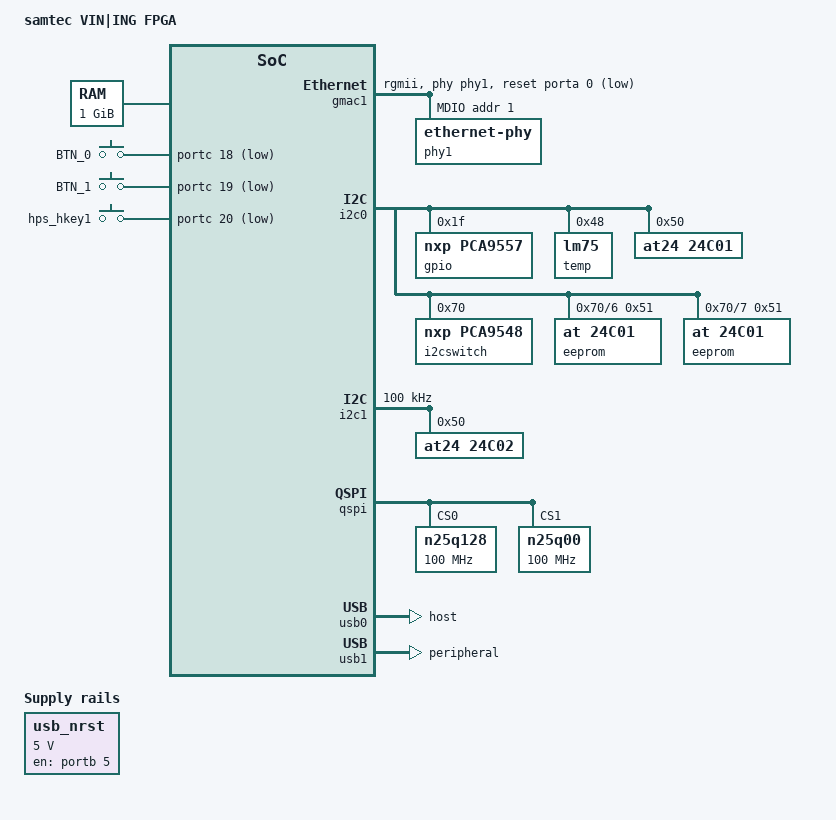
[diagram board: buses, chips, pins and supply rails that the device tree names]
/*
 *  Copyright (C) 2015 Marek Vasut <marex@denx.de>
 *
 * This file is dual-licensed: you can use it either under the terms
 * of the GPL or the X11 license, at your option. Note that this dual
 * licensing only applies to this file, and not this project as a
 * whole.
 *
 *  a) This file is free software; you can redistribute it and/or
 *     modify it under the terms of the GNU General Public License as
 *     published by the Free Software Foundation; either version 2 of
 *     the License, or (at your option) any later version.
 *
 *     This file is distributed in the hope that it will be useful,
 *     but WITHOUT ANY WARRANTY; without even the implied warranty of
 *     MERCHANTABILITY or FITNESS FOR A PARTICULAR PURPOSE.  See the
 *     GNU General Public License for more details.
 *
 *     You should have received a copy of the GNU General Public
 *     License along with this file; if not, write to the Free
 *     Software Foundation, Inc., 51 Franklin St, Fifth Floor, Boston,
 *     MA 02110-1301 USA
 *
 * Or, alternatively,
 *
 *  b) Permission is hereby granted, free of charge, to any person
 *     obtaining a copy of this software and associated documentation
 *     files (the "Software"), to deal in the Software without
 *     restriction, including without limitation the rights to use,
 *     copy, modify, merge, publish, distribute, sublicense, and/or
 *     sell copies of the Software, and to permit persons to whom the
 *     Software is furnished to do so, subject to the following
 *     conditions:
 *
 *     The above copyright notice and this permission notice shall be
 *     included in all copies or substantial portions of the Software.
 *
 *     THE SOFTWARE IS PROVIDED "AS IS", WITHOUT WARRANTY OF ANY KIND,
 *     EXPRESS OR IMPLIED, INCLUDING BUT NOT LIMITED TO THE WARRANTIES
 *     OF MERCHANTABILITY, FITNESS FOR A PARTICULAR PURPOSE AND
 *     NONINFRINGEMENT. IN NO EVENT SHALL THE AUTHORS OR COPYRIGHT
 *     HOLDERS BE LIABLE FOR ANY CLAIM, DAMAGES OR OTHER LIABILITY,
 *     WHETHER IN AN ACTION OF CONTRACT, TORT OR OTHERWISE, ARISING
 *     FROM, OUT OF OR IN CONNECTION WITH THE SOFTWARE OR THE USE OR
 *     OTHER DEALINGS IN THE SOFTWARE.
 */

#include "socfpga_cyclone5.dtsi"
#include <dt-bindings/gpio/gpio.h>
#include <dt-bindings/input/input.h>

/ {
	model = "samtec VIN|ING FPGA";
	compatible = "samtec,vining", "altr,socfpga-cyclone5", "altr,socfpga";

	chosen {
		bootargs = "console=ttyS0,115200";
	};

	memory@0 {
		name = "memory";
		device_type = "memory";
		reg = <0x0 0x40000000>; /* 1GB */
	};

	aliases {
		/*
		 * This allow the ethaddr uboot environment variable contents
		 * to be added to the gmac1 device tree blob.
		 */
		ethernet0 = &gmac1;
		ethernet1 = &gmac0;
	};

	gpio-keys {
		compatible = "gpio-keys";

		hps_temp0 {
			label = "BTN_0";			/* TEMP_OS */
			gpios = <&portc 18 GPIO_ACTIVE_LOW>;	/* HPS_GPIO60 */
			linux,code = <BTN_0>;
		};

		hps_hkey0 {
			label = "BTN_1";			/* DIS_PWR */
			gpios = <&portc 19 GPIO_ACTIVE_LOW>;	/* HPS_GPIO61 */
			linux,code = <BTN_1>;
		};

		hps_hkey1 {
			label = "hps_hkey1";			/* POWER_DOWN */
			gpios = <&portc 20 GPIO_ACTIVE_LOW>;	/* HPS_GPIO62 */
			linux,code = <KEY_POWER>;
		};
	};

	regulator-usb-nrst {
		compatible = "regulator-fixed";
		regulator-name = "usb_nrst";
		regulator-min-microvolt = <5000000>;
		regulator-max-microvolt = <5000000>;
		gpio = <&portb 5 GPIO_ACTIVE_HIGH>;
		startup-delay-us = <70000>;
		enable-active-high;
		regulator-always-on;
	};
};

&gmac1 {
	status = "okay";
	phy-mode = "rgmii";
	phy-handle = <&phy1>;

	snps,reset-gpio = <&porta 0 GPIO_ACTIVE_LOW>;
	snps,reset-active-low;
	snps,reset-delays-us = <10000 10000 10000>;

	mdio0 {
		#address-cells = <1>;
		#size-cells = <0>;
		compatible = "snps,dwmac-mdio";
		phy1: ethernet-phy@1 {
			reg = <1>;
			rxd0-skew-ps = <0>;
			rxd1-skew-ps = <0>;
			rxd2-skew-ps = <0>;
			rxd3-skew-ps = <0>;
			txen-skew-ps = <0>;
			txc-skew-ps = <2600>;
			rxdv-skew-ps = <0>;
			rxc-skew-ps = <2000>;
		};
	};
};

&gpio0 {	/* GPIO 0..29 */
	status = "okay";
};

&gpio1 {	/* GPIO 30..57 */
	status = "okay";
};

&gpio2 {	/* GPIO 58..66 (HLGPI 0..13 at offset 13) */
	status = "okay";
};

&i2c0 {
	status = "okay";

	gpio: pca9557@1f {
		compatible = "nxp,pca9557";
		reg = <0x1f>;
		gpio-controller;
		#gpio-cells = <2>;
	};

	temp: lm75@48 {
		compatible = "lm75";
		reg = <0x48>;
	};

	at24@50 {
		compatible = "at24,24c01";
		pagesize = <8>;
		reg = <0x50>;
	};

	i2cswitch@70 {
		compatible = "nxp,pca9548";
		#address-cells = <1>;
		#size-cells = <0>;
		reg = <0x70>;

		i2c@0 {
			#address-cells = <1>;
			#size-cells = <0>;
			reg = <0>;
		};

		i2c@1 {
			#address-cells = <1>;
			#size-cells = <0>;
			reg = <1>;
		};

		i2c@2 {
			#address-cells = <1>;
			#size-cells = <0>;
			reg = <2>;
		};

		i2c@3 {
			#address-cells = <1>;
			#size-cells = <0>;
			reg = <3>;
		};

		i2c@4 {
			#address-cells = <1>;
			#size-cells = <0>;
			reg = <4>;
		};

		i2c@5 {
			#address-cells = <1>;
			#size-cells = <0>;
			reg = <5>;
		};

		i2c@6 {	/* Backplane EEPROM */
			#address-cells = <1>;
			#size-cells = <0>;
			reg = <6>;
			eeprom@51 {
				compatible = "at,24c01";
				pagesize = <8>;
				reg = <0x51>;
			};
		};

		i2c@7 {	/* Power board EEPROM */
			#address-cells = <1>;
			#size-cells = <0>;
			reg = <7>;
			eeprom@51 {
				compatible = "at,24c01";
				pagesize = <8>;
				reg = <0x51>;
			};
		};
	};
};

&i2c1 {
	status = "okay";
	clock-frequency = <100000>;

	at24@50 {
		compatible = "at24,24c02";
		pagesize = <8>;
		reg = <0x50>;
	};
};

&qspi {
	status = "okay";

	n25q128@0 {
		#address-cells = <1>;
		#size-cells = <1>;
		compatible = "n25q128";
		reg = <0>;		/* chip select */
		spi-max-frequency = <100000000>;
		m25p,fast-read;

		cdns,page-size = <256>;
		cdns,block-size = <16>;
		cdns,read-delay = <4>;
		cdns,tshsl-ns = <50>;
		cdns,tsd2d-ns = <50>;
		cdns,tchsh-ns = <4>;
		cdns,tslch-ns = <4>;
	};

	n25q00@1 {
		#address-cells = <1>;
		#size-cells = <1>;
		compatible = "n25q00";
		reg = <1>;		/* chip select */
		spi-max-frequency = <100000000>;
		m25p,fast-read;

		cdns,page-size = <256>;
		cdns,block-size = <16>;
		cdns,read-delay = <4>;
		cdns,tshsl-ns = <50>;
		cdns,tsd2d-ns = <50>;
		cdns,tchsh-ns = <4>;
		cdns,tslch-ns = <4>;
	};
};

&usb0 {
	dr_mode = "host";
	status = "okay";
};

&usb1 {
	dr_mode = "peripheral";
	status = "okay";
};
